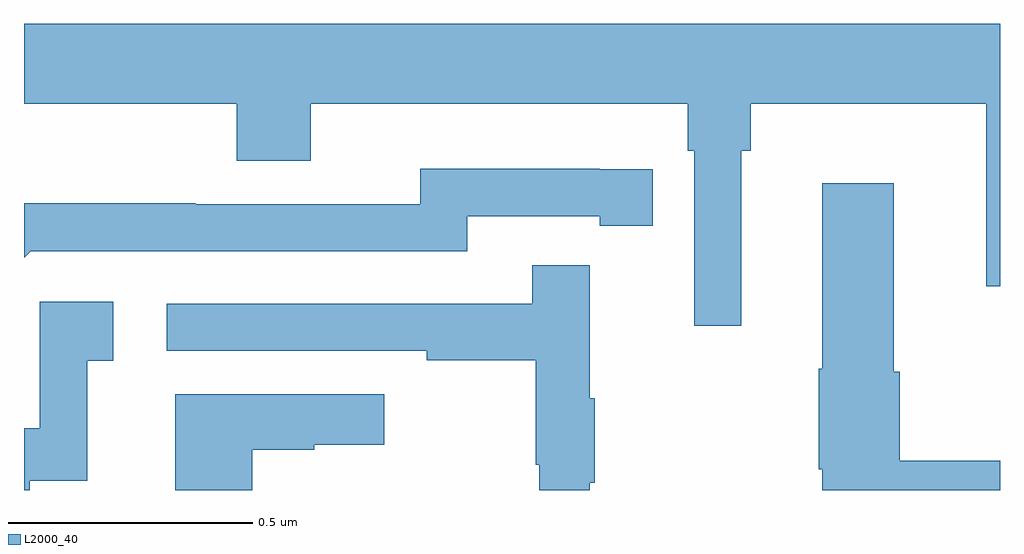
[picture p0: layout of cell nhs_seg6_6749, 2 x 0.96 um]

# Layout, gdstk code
import gdstk
lib = gdstk.Library(unit=1e-6, precision=1e-09)
def P(c, l, *ps):  # polygons
    for p in ps: c.add(gdstk.Polygon(p, *l))
L2000_40 = (2000, 40)

nhs_seg6_6749 = lib.new_cell('nhs_seg6_6749')
P(nhs_seg6_6749, L2000_40, [(200.47,991.196),(200.489,991.196),(200.489,991.292),(200.972,991.292),(200.972,990.918),(201,990.918),(201,991.456),(199,991.456),(199,991.292),(199.436,991.292),(199.436,991.175),(199.588,991.175),(199.588,991.292),(200.36,991.292),(200.36,991.196),(200.373,991.196),(200.373,990.837),(200.47,990.837)],
  [(199.014,990.99),(199.908,990.99),(199.908,991.062),(200.18,991.062),(200.18,991.042),(200.288,991.042),(200.288,991.158),(200.18,991.158),(200.18,991.159),(199.812,991.159),(199.812,991.086),(199.352,991.086),(199.352,991.088),(199,991.088),(199,990.976)],
  [(201,990.56),(200.795,990.56),(200.795,990.743),(200.782,990.743),(200.782,991.129),(200.636,991.129),(200.636,990.749),(200.629,990.749),(200.629,990.543),(200.636,990.543),(200.636,990.5),(201,990.5)],
  [(200.159,990.515),(200.17,990.515),(200.17,990.689),(200.159,990.689),(200.159,990.961),(200.041,990.961),(200.041,990.882),(199.293,990.882),(199.293,990.786),(199.825,990.786),(199.825,990.766),(200.049,990.766),(200.049,990.552),(200.056,990.552),(200.056,990.5),(200.159,990.5)],
  [(199.012,990.519),(199.13,990.519),(199.13,990.765),(199.183,990.765),(199.183,990.886),(199.032,990.886),(199.032,990.627),(199,990.627),(199,990.5),(199.012,990.5)],
  [(199.468,990.583),(199.595,990.583),(199.595,990.593),(199.738,990.593),(199.738,990.697),(199.31,990.697),(199.31,990.5),(199.468,990.5)])

lib.write_gds('nhs_seg6_6749.gds')
